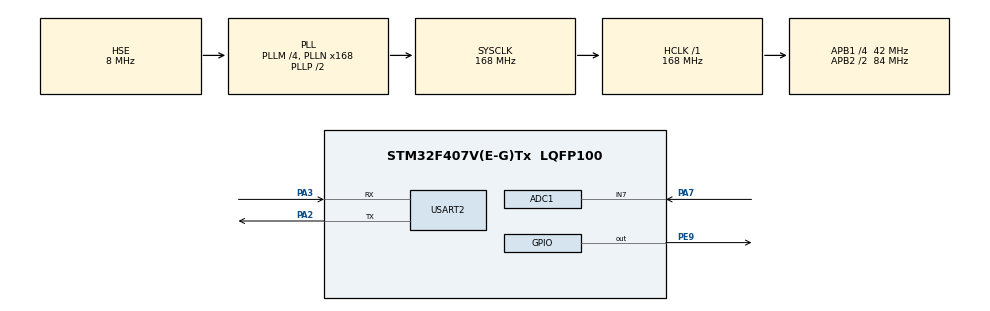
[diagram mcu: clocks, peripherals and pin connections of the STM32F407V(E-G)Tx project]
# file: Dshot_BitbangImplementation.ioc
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ADC1.Channel-1\#ChannelRegularConversion=ADC_CHANNEL_7
ADC1.ClockPrescaler=ADC_CLOCK_SYNC_PCLK_DIV4
ADC1.ExternalTrigConv=ADC_EXTERNALTRIGCONV_T2_TRGO
ADC1.NbrOfConversionFlag=1
ADC1.Rank-1\#ChannelRegularConversion=1
ADC1.Resolution=ADC_RESOLUTION_8B
ADC1.SamplingTime-1\#ChannelRegularConversion=ADC_SAMPLETIME_3CYCLES
ADC1.master=1
Dma.Request0=TIM1_UP
Dma.Request1=USART2_TX
Dma.TIM1_UP.0.Direction=DMA_MEMORY_TO_PERIPH
Dma.TIM1_UP.0.FIFOMode=DMA_FIFOMODE_DISABLE
Dma.TIM1_UP.0.Instance=DMA2_Stream5
Dma.TIM1_UP.0.MemDataAlignment=DMA_MDATAALIGN_WORD
Dma.TIM1_UP.0.MemInc=DMA_MINC_ENABLE
Dma.TIM1_UP.0.Mode=DMA_NORMAL
Dma.TIM1_UP.0.PeriphDataAlignment=DMA_PDATAALIGN_WORD
Dma.TIM1_UP.0.PeriphInc=DMA_PINC_DISABLE
Dma.TIM1_UP.0.Priority=DMA_PRIORITY_HIGH
Dma.USART2_TX.1.Direction=DMA_MEMORY_TO_PERIPH
Dma.USART2_TX.1.FIFOMode=DMA_FIFOMODE_DISABLE
Dma.USART2_TX.1.Instance=DMA1_Stream6
Dma.USART2_TX.1.MemDataAlignment=DMA_MDATAALIGN_BYTE
Dma.USART2_TX.1.MemInc=DMA_MINC_ENABLE
Dma.USART2_TX.1.Mode=DMA_NORMAL
Dma.USART2_TX.1.PeriphDataAlignment=DMA_PDATAALIGN_BYTE
Dma.USART2_TX.1.PeriphInc=DMA_PINC_DISABLE
Dma.USART2_TX.1.Priority=DMA_PRIORITY_LOW
Mcu.Family=STM32F4
Mcu.Name=STM32F407V(E-G)Tx
Mcu.Package=LQFP100
Mcu.UserConstants=BitRate,300;BitSectionNumber,8
NVIC.ADC_IRQn=true\:0\:0\:false\:false\:true\:true\:true\:true
NVIC.DMA1_Stream6_IRQn=true\:0\:0\:false\:false\:true\:false\:true\:true
NVIC.DMA2_Stream5_IRQn=true\:0\:0\:false\:false\:true\:false\:true\:true
NVIC.PriorityGroup=NVIC_PRIORITYGROUP_0
NVIC.USART2_IRQn=true\:0\:0\:false\:false\:true\:true\:true\:true
PA2.Mode=Asynchronous
PA2.Signal=USART2_TX
PA3.Mode=Asynchronous
PA3.Signal=USART2_RX
PA7.Signal=ADCx_IN7
PC14-OSC32_IN.Mode=LSE-External-Clock-Source
PC14-OSC32_IN.Signal=RCC_OSC32_IN
PC15-OSC32_OUT.Mode=LSE-External-Clock-Source
PC15-OSC32_OUT.Signal=RCC_OSC32_OUT
PE9.GPIO_Speed=GPIO_SPEED_FREQ_MEDIUM
PE9.PinState=GPIO_PIN_RESET
PE9.Signal=GPIO_Output
PH0-OSC_IN.Mode=HSE-External-Oscillator
PH0-OSC_IN.Signal=RCC_OSC_IN
PH1-OSC_OUT.Mode=HSE-External-Oscillator
PH1-OSC_OUT.Signal=RCC_OSC_OUT
ProjectManager.HeapSize=0x200
ProjectManager.StackSize=0x400
ProjectManager.TargetToolchain=STM32CubeIDE
RCC.48MHZClocksFreq_Value=48000000
RCC.AHBFreq_Value=168000000
RCC.APB1CLKDivider=RCC_HCLK_DIV4
RCC.APB1Freq_Value=42000000
RCC.APB1TimFreq_Value=84000000
RCC.APB2CLKDivider=RCC_HCLK_DIV2
RCC.APB2Freq_Value=84000000
RCC.APB2TimFreq_Value=168000000
RCC.CortexFreq_Value=168000000
RCC.HCLKFreq_Value=168000000
RCC.HSE_VALUE=8000000
RCC.HSI_VALUE=16000000
RCC.LSE_VALUE=32768
RCC.PLLM=4
RCC.PLLN=168
RCC.PLLQ=7
RCC.PLLSourceVirtual=RCC_PLLSOURCE_HSE
RCC.SYSCLKFreq_VALUE=168000000
RCC.SYSCLKSource=RCC_SYSCLKSOURCE_PLLCLK
RCC.VCOOutputFreq_Value=336000000
SH.ADCx_IN7.0=ADC1_IN7,IN7
TIM1.Channel-Output\ Compare1\ No\ Output=TIM_CHANNEL_1
TIM1.Period=168000/BitRate/BitSectionNumber -1
TIM1.Prescaler=1-1
TIM1.TIM_MasterOutputTrigger=TIM_TRGO_UPDATE
TIM2.AutoReloadPreload=TIM_AUTORELOAD_PRELOAD_ENABLE
TIM2.Period=10000-1
TIM2.Prescaler=84-1
TIM2.TIM_MasterOutputTrigger=TIM_TRGO_UPDATE
USART2.VirtualMode=VM_ASYNC
VP_TIM1_VS_ClockSourceINT.Mode=Internal
VP_TIM1_VS_no_output1.Mode=Output Compare1 No Output
VP_TIM2_VS_ClockSourceINT.Mode=Internal
board=STM32F407G-DISC1

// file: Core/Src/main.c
/* USER CODE BEGIN Header */
/**
  ******************************************************************************
  * @file           : main.c
  * @brief          : Main program body
  ******************************************************************************
  * @attention
  *
  * Copyright (c) 2025 STMicroelectronics.
  * All rights reserved.
  *
  * This software is licensed under terms that can be found in the LICENSE file
  * in the root directory of this software component.
  * If no LICENSE file comes with this software, it is provided AS-IS.
  *
  ******************************************************************************
  */
/* USER CODE END Header */
#include "main.h"

/* USER CODE BEGIN Includes */
#include <stdio.h>
#include <string.h>
#include "DshotBitbang.h"
/* USER CODE END Includes */

/* USER CODE BEGIN PD */
uint32_t value;
uint8_t uart_ready = 0;
volatile uint16_t rpm;
char uart_rpm_buffer[64];
uint16_t raw_16bit;
uint32_t raw_signal;
volatile uint8_t TXFull;
volatile uint16_t pot_value = 0;

typedef enum {
    STATE_TX_INIT,              // Preparing to start TX
    STATE_TX_TRANSFERING,              // TX transfer in progress
    STATE_RX_INIT,              // RX transfer in progress
    STATE_RX_TRANSFERING,  // RX done, preparing for next TX (or back to IDLE)
	STATE_READ_RPM,

} AppState_t;

volatile AppState_t appState = STATE_TX_INIT; // Global state variable

/* USER CODE END PD */

ADC_HandleTypeDef hadc1;

TIM_HandleTypeDef htim1;
TIM_HandleTypeDef htim2;
DMA_HandleTypeDef hdma_tim1_up;

UART_HandleTypeDef huart2;
DMA_HandleTypeDef hdma_usart2_tx;

/* USER CODE BEGIN PV */
uint32_t DMA_Buffer[FRAME_BIT_NUMBER * BIT_SECTION_NUMBER] = {0};
uint32_t RX_Buffer[300];
/* USER CODE END PV */

void SystemClock_Config(void);
static void MX_GPIO_Init(void);
static void MX_DMA_Init(void);
static void MX_TIM1_Init(void);
static void MX_ADC1_Init(void);
static void MX_TIM2_Init(void);
static void MX_USART2_UART_Init(void);

/* USER CODE BEGIN 0 */
void HAL_DMA_TxCpltCallback(DMA_HandleTypeDef *hdma)
{
    if (hdma->Instance == DMA2_Stream5)
    {
    	if (appState == STATE_TX_TRANSFERING) appState = STATE_RX_INIT;
    	else if (appState == STATE_RX_TRANSFERING) appState = STATE_READ_RPM;
    }
}

void HAL_ADC_ConvCpltCallback(ADC_HandleTypeDef* hadc)
{
	pot_value = HAL_ADC_GetValue(&hadc1); // Read & Update The ADC Result
}
uint32_t potValue_to_value(volatile uint16_t potValue){
	return potValue*2000/256 + 48;
}

void HAL_UART_TxCpltCallback(UART_HandleTypeDef *huart){
	if (huart->Instance == USART2)
		{
			sprintf(uart_rpm_buffer, "%u,%u\r\n", rpm, value);
			HAL_UART_Transmit_DMA(&huart2, (uint8_t*)uart_rpm_buffer, strlen(uart_rpm_buffer));
		}
}

/* USER CODE END 0 */

int main(void)
{

  /* MCU Configuration--------------------------------------------------------*/

  /* Reset of all peripherals, Initializes the Flash interface and the Systick. */
  HAL_Init();

  /* Configure the system clock */
  SystemClock_Config();

  /* Initialize all configured peripherals */
  MX_GPIO_Init();
  MX_DMA_Init();
  MX_TIM1_Init();
  MX_ADC1_Init();
  MX_TIM2_Init();
  MX_USART2_UART_Init();
  /* USER CODE BEGIN 2 */
  HAL_TIM_Base_Start(&htim2); // Start Timer2 (Trigger Source For ADC1)
  HAL_ADC_Start_IT(&hadc1); // Start ADC Conversion
  hdma_tim1_up.XferCpltCallback = HAL_DMA_TxCpltCallback;

  MemBuffer_init(DMA_Buffer);
  //sprintf(uart_rpm_buffer, "%u\n", rpm);
  sprintf(uart_rpm_buffer, "%u,%u\r\n", rpm, value);
  HAL_UART_Transmit_DMA(&huart2, (uint8_t*)uart_rpm_buffer, strlen(uart_rpm_buffer));

  /* USER CODE END 2 */

  /* Infinite loop */
  /* USER CODE BEGIN WHILE */
  appState = STATE_TX_INIT;
  while (1)
  {

		switch (appState){
			case STATE_TX_INIT:
				//Tat timer
				HAL_TIM_Base_Stop(&htim1);

			  	value = potValue_to_value(pot_value);
				//value = 48;
			  	DshotFrameToMemBuffer(getDshotFrame(value), DMA_Buffer);

				//Chuyen GPIO sang output, no pullup pulldown
				GPIOE->MODER &= ~GPIO_MODER_MODER9;
	            GPIOE->MODER |= GPIO_MODER_MODER9_0;

	            //Config lai thong so cua tim1
	            __HAL_TIM_SET_AUTORELOAD(&htim1, 168000/BitRate/BitSectionNumber -1);
	            __HAL_TIM_SET_PRESCALER(&htim1, 1-1);

	            //Tat DMA
			    __HAL_DMA_DISABLE(&hdma_tim1_up);

				//Cai dat cho DMA
				hdma_tim1_up.Init.Direction = DMA_MEMORY_TO_PERIPH;
				hdma_tim1_up.Init.MemInc = DMA_MINC_ENABLE;
				hdma_tim1_up.Init.PeriphInc = DMA_PINC_DISABLE;
				hdma_tim1_up.Init.PeriphDataAlignment = DMA_PDATAALIGN_WORD;
				hdma_tim1_up.Init.MemDataAlignment = DMA_MDATAALIGN_WORD;
				HAL_DMA_Init(&hdma_tim1_up);

				//Bat dma va timer
				HAL_DMA_Start_IT(&hdma_tim1_up, (uint32_t)DMA_Buffer, (uint32_t)&(GPIOE->BSRR), FRAME_BIT_NUMBER * BIT_SECTION_NUMBER);
				TIM1->EGR |= TIM_EGR_UG;
				HAL_TIM_Base_Start(&htim1);
				appState = STATE_TX_TRANSFERING;
				break;

			case STATE_TX_TRANSFERING:
				break;

			case STATE_RX_INIT:
				//Tat timer
				HAL_TIM_Base_Stop(&htim1);

				//Chuyen gpio sang input mode, pull up
				GPIOE->MODER &= ~GPIO_MODER_MODER9;
	            GPIOE->PUPDR &= ~GPIO_PUPDR_PUPDR9;
	            GPIOE->PUPDR |= GPIO_PUPDR_PUPDR9_0;

	            //Config lai thong so cua tim1 sao cho bang 4 lan tan so cua eRPM (tieu chuan Nyquist?)
	            __HAL_TIM_SET_AUTORELOAD(&htim1, 168000/375/6 -1);
	            __HAL_TIM_SET_PRESCALER(&htim1, 1-1);

				//Cai dat lai DMA
				hdma_tim1_up.Init.Direction = DMA_PERIPH_TO_MEMORY;
				hdma_tim1_up.Init.MemInc = DMA_MINC_ENABLE;
				hdma_tim1_up.Init.PeriphInc = DMA_PINC_DISABLE;
				hdma_tim1_up.Init.PeriphDataAlignment = DMA_PDATAALIGN_WORD;
				hdma_tim1_up.Init.MemDataAlignment = DMA_MDATAALIGN_WORD;
				HAL_DMA_Init(&hdma_tim1_up);

				//Bat dma va timer
				HAL_DMA_Start_IT(&hdma_tim1_up, (uint32_t)&(GPIOE->IDR), (uint32_t)RX_Buffer, 300);
				TIM1->EGR |= TIM_EGR_UG;
				HAL_TIM_Base_Start(&htim1);
				appState = STATE_RX_TRANSFERING;

				break;

			case STATE_RX_TRANSFERING:
				break;

			case STATE_READ_RPM:
				raw_signal =  get_BDshot_response(RX_Buffer, 9);
				raw_16bit = rawBdShot_to_raw16bit(raw_signal, &raw_16bit);
				rpm = raw16bit_to_motorRpm(raw_16bit, &rpm);

				appState = STATE_TX_INIT;
				GPIOE->ODR |= GPIO_ODR_OD9;
				break;
		}

    /* USER CODE END WHILE */

  }
}

void SystemClock_Config(void)
{
  RCC_OscInitTypeDef RCC_OscInitStruct = {0};
  RCC_ClkInitTypeDef RCC_ClkInitStruct = {0};

  /** Configure the main internal regulator output voltage
  */
  __HAL_RCC_PWR_CLK_ENABLE();
  __HAL_PWR_VOLTAGESCALING_CONFIG(PWR_REGULATOR_VOLTAGE_SCALE1);

  /** Initializes the RCC Oscillators according to the specified parameters
  * in the RCC_OscInitTypeDef structure.
  */
  RCC_OscInitStruct.OscillatorType = RCC_OSCILLATORTYPE_HSE;
  RCC_OscInitStruct.HSEState = RCC_HSE_ON;
  RCC_OscInitStruct.PLL.PLLState = RCC_PLL_ON;
  RCC_OscInitStruct.PLL.PLLSource = RCC_PLLSOURCE_HSE;
  RCC_OscInitStruct.PLL.PLLM = 4;
  RCC_OscInitStruct.PLL.PLLN = 168;
  RCC_OscInitStruct.PLL.PLLP = RCC_PLLP_DIV2;
  RCC_OscInitStruct.PLL.PLLQ = 7;
  if (HAL_RCC_OscConfig(&RCC_OscInitStruct) != HAL_OK)
  {
    Error_Handler();
  }

  /** Initializes the CPU, AHB and APB buses clocks
  */
  RCC_ClkInitStruct.ClockType = RCC_CLOCKTYPE_HCLK|RCC_CLOCKTYPE_SYSCLK
                              |RCC_CLOCKTYPE_PCLK1|RCC_CLOCKTYPE_PCLK2;
  RCC_ClkInitStruct.SYSCLKSource = RCC_SYSCLKSOURCE_PLLCLK;
  RCC_ClkInitStruct.AHBCLKDivider = RCC_SYSCLK_DIV1;
  RCC_ClkInitStruct.APB1CLKDivider = RCC_HCLK_DIV4;
  RCC_ClkInitStruct.APB2CLKDivider = RCC_HCLK_DIV2;

  if (HAL_RCC_ClockConfig(&RCC_ClkInitStruct, FLASH_LATENCY_5) != HAL_OK)
  {
    Error_Handler();
  }
}

static void MX_ADC1_Init(void)
{

  ADC_ChannelConfTypeDef sConfig = {0};

  /** Configure the global features of the ADC (Clock, Resolution, Data Alignment and number of conversion)
  */
  hadc1.Instance = ADC1;
  hadc1.Init.ClockPrescaler = ADC_CLOCK_SYNC_PCLK_DIV4;
  hadc1.Init.Resolution = ADC_RESOLUTION_8B;
  hadc1.Init.ScanConvMode = DISABLE;
  hadc1.Init.ContinuousConvMode = DISABLE;
  hadc1.Init.DiscontinuousConvMode = DISABLE;
  hadc1.Init.ExternalTrigConvEdge = ADC_EXTERNALTRIGCONVEDGE_RISING;
  hadc1.Init.ExternalTrigConv = ADC_EXTERNALTRIGCONV_T2_TRGO;
  hadc1.Init.DataAlign = ADC_DATAALIGN_RIGHT;
  hadc1.Init.NbrOfConversion = 1;
  hadc1.Init.DMAContinuousRequests = DISABLE;
  hadc1.Init.EOCSelection = ADC_EOC_SINGLE_CONV;
  if (HAL_ADC_Init(&hadc1) != HAL_OK)
  {
    Error_Handler();
  }

  /** Configure for the selected ADC regular channel its corresponding rank in the sequencer and its sample time.
  */
  sConfig.Channel = ADC_CHANNEL_7;
  sConfig.Rank = 1;
  sConfig.SamplingTime = ADC_SAMPLETIME_3CYCLES;
  if (HAL_ADC_ConfigChannel(&hadc1, &sConfig) != HAL_OK)
  {
    Error_Handler();
  }

}

static void MX_TIM1_Init(void)
{

  TIM_ClockConfigTypeDef sClockSourceConfig = {0};
  TIM_MasterConfigTypeDef sMasterConfig = {0};
  TIM_OC_InitTypeDef sConfigOC = {0};
  TIM_BreakDeadTimeConfigTypeDef sBreakDeadTimeConfig = {0};

  htim1.Instance = TIM1;
  htim1.Init.Prescaler = 1-1;
  htim1.Init.CounterMode = TIM_COUNTERMODE_UP;
  htim1.Init.Period = 168000/BitRate/BitSectionNumber -1;
  htim1.Init.ClockDivision = TIM_CLOCKDIVISION_DIV1;
  htim1.Init.RepetitionCounter = 0;
  htim1.Init.AutoReloadPreload = TIM_AUTORELOAD_PRELOAD_DISABLE;
  if (HAL_TIM_Base_Init(&htim1) != HAL_OK)
  {
    Error_Handler();
  }
  sClockSourceConfig.ClockSource = TIM_CLOCKSOURCE_INTERNAL;
  if (HAL_TIM_ConfigClockSource(&htim1, &sClockSourceConfig) != HAL_OK)
  {
    Error_Handler();
  }
  if (HAL_TIM_OC_Init(&htim1) != HAL_OK)
  {
    Error_Handler();
  }
  sMasterConfig.MasterOutputTrigger = TIM_TRGO_UPDATE;
  sMasterConfig.MasterSlaveMode = TIM_MASTERSLAVEMODE_DISABLE;
  if (HAL_TIMEx_MasterConfigSynchronization(&htim1, &sMasterConfig) != HAL_OK)
  {
    Error_Handler();
  }
  sConfigOC.OCMode = TIM_OCMODE_TIMING;
  sConfigOC.Pulse = 0;
  sConfigOC.OCPolarity = TIM_OCPOLARITY_HIGH;
  sConfigOC.OCNPolarity = TIM_OCNPOLARITY_HIGH;
  sConfigOC.OCFastMode = TIM_OCFAST_DISABLE;
  sConfigOC.OCIdleState = TIM_OCIDLESTATE_RESET;
  sConfigOC.OCNIdleState = TIM_OCNIDLESTATE_RESET;
  if (HAL_TIM_OC_ConfigChannel(&htim1, &sConfigOC, TIM_CHANNEL_1) != HAL_OK)
  {
    Error_Handler();
  }
  sBreakDeadTimeConfig.OffStateRunMode = TIM_OSSR_DISABLE;
  sBreakDeadTimeConfig.OffStateIDLEMode = TIM_OSSI_DISABLE;
  sBreakDeadTimeConfig.LockLevel = TIM_LOCKLEVEL_OFF;
  sBreakDeadTimeConfig.DeadTime = 0;
  sBreakDeadTimeConfig.BreakState = TIM_BREAK_DISABLE;
  sBreakDeadTimeConfig.BreakPolarity = TIM_BREAKPOLARITY_HIGH;
  sBreakDeadTimeConfig.AutomaticOutput = TIM_AUTOMATICOUTPUT_DISABLE;
  if (HAL_TIMEx_ConfigBreakDeadTime(&htim1, &sBreakDeadTimeConfig) != HAL_OK)
  {
    Error_Handler();
  }
  /* USER CODE BEGIN TIM1_Init 2 */
  __HAL_TIM_ENABLE_DMA(&htim1, TIM_DMA_UPDATE);
  /* USER CODE END TIM1_Init 2 */

}

static void MX_TIM2_Init(void)
{

  TIM_ClockConfigTypeDef sClockSourceConfig = {0};
  TIM_MasterConfigTypeDef sMasterConfig = {0};

  htim2.Instance = TIM2;
  htim2.Init.Prescaler = 84-1;
  htim2.Init.CounterMode = TIM_COUNTERMODE_UP;
  htim2.Init.Period = 10000-1;
  htim2.Init.ClockDivision = TIM_CLOCKDIVISION_DIV1;
  htim2.Init.AutoReloadPreload = TIM_AUTORELOAD_PRELOAD_ENABLE;
  if (HAL_TIM_Base_Init(&htim2) != HAL_OK)
  {
    Error_Handler();
  }
  sClockSourceConfig.ClockSource = TIM_CLOCKSOURCE_INTERNAL;
  if (HAL_TIM_ConfigClockSource(&htim2, &sClockSourceConfig) != HAL_OK)
  {
    Error_Handler();
  }
  sMasterConfig.MasterOutputTrigger = TIM_TRGO_UPDATE;
  sMasterConfig.MasterSlaveMode = TIM_MASTERSLAVEMODE_DISABLE;
  if (HAL_TIMEx_MasterConfigSynchronization(&htim2, &sMasterConfig) != HAL_OK)
  {
    Error_Handler();
  }

}

static void MX_USART2_UART_Init(void)
{

  huart2.Instance = USART2;
  huart2.Init.BaudRate = 115200;
  huart2.Init.WordLength = UART_WORDLENGTH_8B;
  huart2.Init.StopBits = UART_STOPBITS_1;
  huart2.Init.Parity = UART_PARITY_NONE;
  huart2.Init.Mode = UART_MODE_TX_RX;
  huart2.Init.HwFlowCtl = UART_HWCONTROL_NONE;
  huart2.Init.OverSampling = UART_OVERSAMPLING_16;
  if (HAL_UART_Init(&huart2) != HAL_OK)
  {
    Error_Handler();
  }

}

static void MX_DMA_Init(void)
{

  /* DMA controller clock enable */
  __HAL_RCC_DMA2_CLK_ENABLE();
  __HAL_RCC_DMA1_CLK_ENABLE();

  /* DMA interrupt init */
  /* DMA1_Stream6_IRQn interrupt configuration */
  HAL_NVIC_SetPriority(DMA1_Stream6_IRQn, 0, 0);
  HAL_NVIC_EnableIRQ(DMA1_Stream6_IRQn);
  /* DMA2_Stream5_IRQn interrupt configuration */
  HAL_NVIC_SetPriority(DMA2_Stream5_IRQn, 0, 0);
  HAL_NVIC_EnableIRQ(DMA2_Stream5_IRQn);

}

static void MX_GPIO_Init(void)
{
  GPIO_InitTypeDef GPIO_InitStruct = {0};

  /* GPIO Ports Clock Enable */
  __HAL_RCC_GPIOC_CLK_ENABLE();
  __HAL_RCC_GPIOH_CLK_ENABLE();
  __HAL_RCC_GPIOA_CLK_ENABLE();
  __HAL_RCC_GPIOE_CLK_ENABLE();

  /*Configure GPIO pin Output Level */
  HAL_GPIO_WritePin(GPIOE, GPIO_PIN_9, GPIO_PIN_RESET);

  /*Configure GPIO pin : PE9 */
  GPIO_InitStruct.Pin = GPIO_PIN_9;
  GPIO_InitStruct.Mode = GPIO_MODE_OUTPUT_PP;
  GPIO_InitStruct.Pull = GPIO_NOPULL;
  GPIO_InitStruct.Speed = GPIO_SPEED_FREQ_MEDIUM;
  HAL_GPIO_Init(GPIOE, &GPIO_InitStruct);

}

void Error_Handler(void)
{
  __disable_irq();
  while (1)
  {
  }
}
